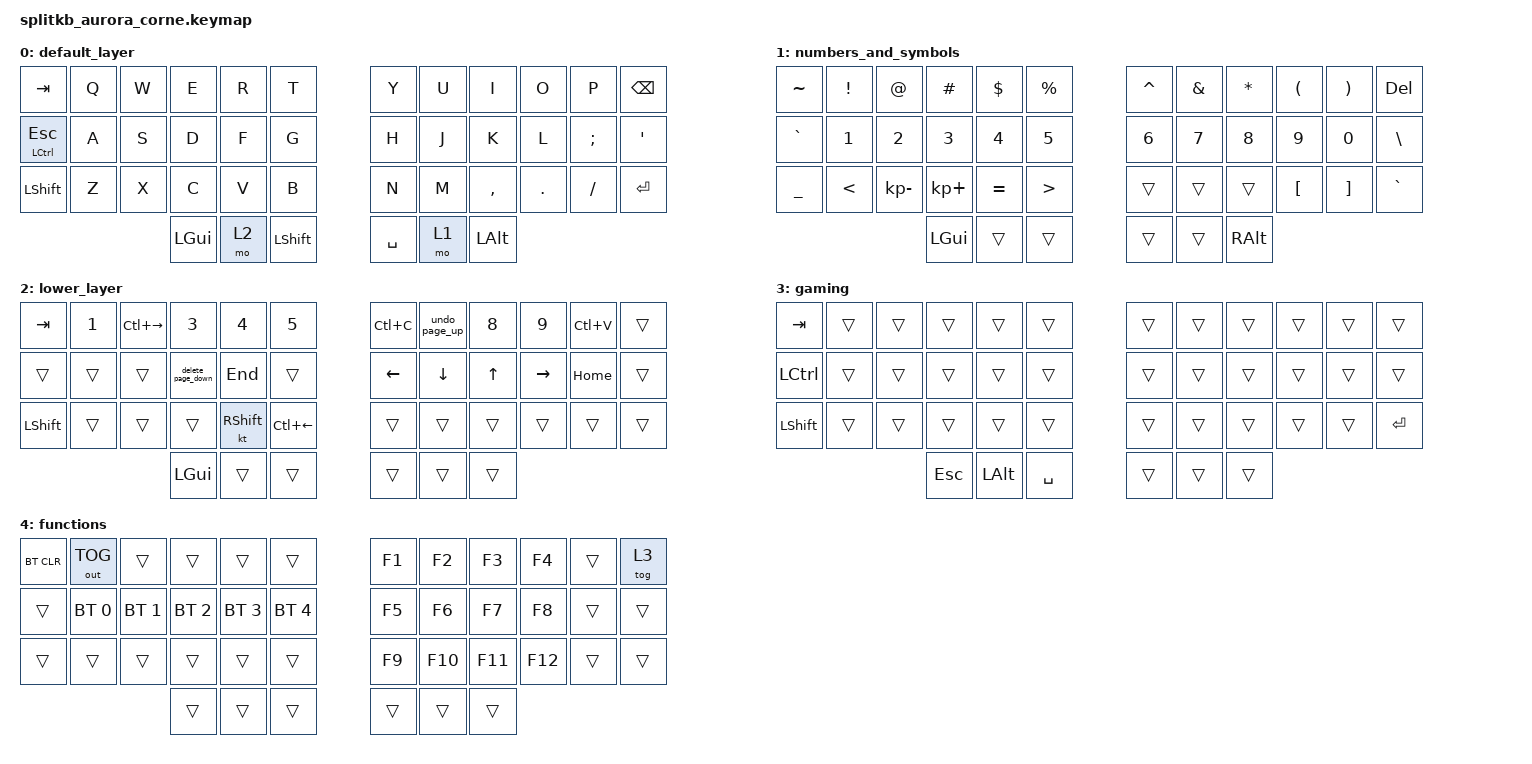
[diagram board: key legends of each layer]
/*
 * Copyright (c) 2020 The ZMK Contributors
 *
 * SPDX-License-Identifier: MIT
 */

#include <behaviors.dtsi>
#include <dt-bindings/zmk/bt.h>
#include <dt-bindings/zmk/keys.h>
#include <dt-bindings/zmk/keys.h>
#include <dt-bindings/zmk/outputs.h>

&mt {
    // tapping-term-ms = <150>;
};

/ {
    behaviors {
        skq: sticky_key_quick_release {
            compatible = "zmk,behavior-sticky-key";
            label = "SKQ";
            bindings = <&kp>;
            #binding-cells = <1>;
            quick-release;
            release-after-ms = <1000>;
        };

        undo_page_up: undo_page_up {
            compatible = "zmk,behavior-mod-morph";
            label = "UNDO_PAGE_UP";
            bindings = <&kp LC(Z)>, <&kp PAGE_UP>;

            #binding-cells = <0>;
            mods = <(MOD_LCTL)>;
        };

        delete_page_down: delete_page_down {
            compatible = "zmk,behavior-mod-morph";
            label = "DELETE_PAGE_DOWN";
            bindings = <&kp DELETE>, <&kp PAGE_DOWN>;

            #binding-cells = <0>;
            mods = <(MOD_LCTL)>;
        };
    };

    keymap {
        compatible = "zmk,keymap";

        default_layer {
            // -----------------------------------------------------------------------------------------
            // |  TAB |  Q  |  W  |  E  |  R  |  T  |   |  Y  |  U   |  I  |  O  |  P  | BKSP |
            // | CTRL |  A  |  S  |  D  |  F  |  G  |   |  H  |  J   |  K  |  L  |  ;  |  '   |
            // | SHFT |  Z  |  X  |  C  |  V  |  B  |   |  N  |  M   |  ,  |  .  |  /  | ESC  |
            //                    | GUI | LWR | SPC |   | ENT | RSE  | ALT |

            bindings = <
&kp TAB                  &kp Q  &kp W  &kp E     &kp R  &kp T             &kp Y      &kp U  &kp I         &kp O    &kp P     &kp BSPC
&mt LEFT_CONTROL ESCAPE  &kp A  &kp S  &kp D     &kp F  &kp G             &kp H      &kp J  &kp K         &kp L    &kp SEMI  &kp SQT
&kp LEFT_SHIFT           &kp Z  &kp X  &kp C     &kp V  &kp B             &kp N      &kp M  &kp COMMA     &kp DOT  &kp FSLH  &kp ENTER
                                       &kp LGUI  &mo 2  &kp LEFT_SHIFT    &kp SPACE  &mo 1  &kp LEFT_ALT
            >;
        };

        numbers_and_symbols {
            // -----------------------------------------------------------------------------------------
            // |  TAB |  !  |  @  |  #  |  $  |  %  |   |  ^  |  &  |  *  |  (  |  )  | BKSP |
            // | CTRL |     |     |     |     |     |   |  -  |  =  |  [  |  ]  |  \  |  `   |
            // | SHFT |     |     |     |     |     |   |  _  |  +  |  {  |  }  | "|" |  ~   |
            //                    | GUI |     | SPC |   | ENT |     | ALT |

            bindings = <
&kp TILDE       &kp EXCL       &kp AT        &kp HASH      &kp DLLR      &kp PRCNT           &kp CARET     &kp AMPS      &kp STAR      &kp LEFT_PARENTHESIS  &kp RIGHT_PARENTHESIS  &kp DELETE
&kp GRAVE       &kp NUMBER_1   &kp NUMBER_2  &kp NUMBER_3  &kp NUMBER_4  &kp NUMBER_5        &kp NUMBER_6  &kp NUMBER_7  &kp NUMBER_8  &kp NUMBER_9          &kp NUMBER_0           &kp BACKSLASH
&kp UNDERSCORE  &kp LESS_THAN  &kp KP_MINUS  &kp KP_PLUS   &kp EQUAL     &kp GREATER_THAN    &trans        &trans        &trans        &kp LEFT_BRACKET      &kp RIGHT_BRACKET      &kp GRAVE
                                             &kp LGUI      &trans        &trans              &trans        &trans        &kp RALT
            >;
        };

        lower_layer {
            // -----------------------------------------------------------------------------------------
            // |  TAB |  1  |  2  |  3  |  4  |  5  |   |  6  |  7  |  8  |  9  |  0  | BKSP |
            // | BTCLR| BT1 | BT2 | BT3 | BT4 | BT5 |   | LFT | DWN |  UP | RGT |     |      |
            // | SHFT |     |     |     |     |     |   |     |     |     |     |     |      |
            //                    | GUI |     | SPC |   | ENT |     | ALT |

            bindings = <
&kp TAB    &kp N1  &kp LC(RIGHT_ARROW)  &kp N3             &kp N4           &kp N5                &kp LC(C)  &undo_page_up  &kp N8  &kp N9     &kp LC(V)  &trans
&trans     &trans  &trans               &delete_page_down  &kp END          &trans                &kp LEFT   &kp DOWN       &kp UP  &kp RIGHT  &kp HOME   &trans
&kp LSHFT  &trans  &trans               &trans             &kt RIGHT_SHIFT  &kp LC(LEFT_ARROW)    &trans     &trans         &trans  &trans     &trans     &trans
                                        &kp LGUI           &trans           &trans                &trans     &trans         &trans
            >;
        };

        gaming {
            bindings = <
&kp TAB           &trans  &trans  &trans      &trans        &trans       &trans  &trans  &trans  &trans  &trans  &trans
&kp LEFT_CONTROL  &trans  &trans  &trans      &trans        &trans       &trans  &trans  &trans  &trans  &trans  &trans
&kp LEFT_SHIFT    &trans  &trans  &trans      &trans        &trans       &trans  &trans  &trans  &trans  &trans  &kp ENTER
                                  &kp ESCAPE  &kp LEFT_ALT  &kp SPACE    &trans  &trans  &trans
            >;
        };

        functions {
            bindings = <
&bt BT_CLR  &out OUT_TOG  &trans        &trans        &trans        &trans          &kp F1  &kp F2   &kp F3   &kp F4   &trans  &tog 3
&trans      &bt BT_SEL 0  &bt BT_SEL 1  &bt BT_SEL 2  &bt BT_SEL 3  &bt BT_SEL 4    &kp F5  &kp F6   &kp F7   &kp F8   &trans  &trans
&trans      &trans        &trans        &trans        &trans        &trans          &kp F9  &kp F10  &kp F11  &kp F12  &trans  &trans
                                        &trans        &trans        &trans          &trans  &trans   &trans
            >;
        };
    };

    conditional_layers {
        compatible = "zmk,conditional-layers";

        forth_combo {
            if-layers = <1 2>;
            then-layer = <4>;
        };
    };
};

// vim:ft=dts
